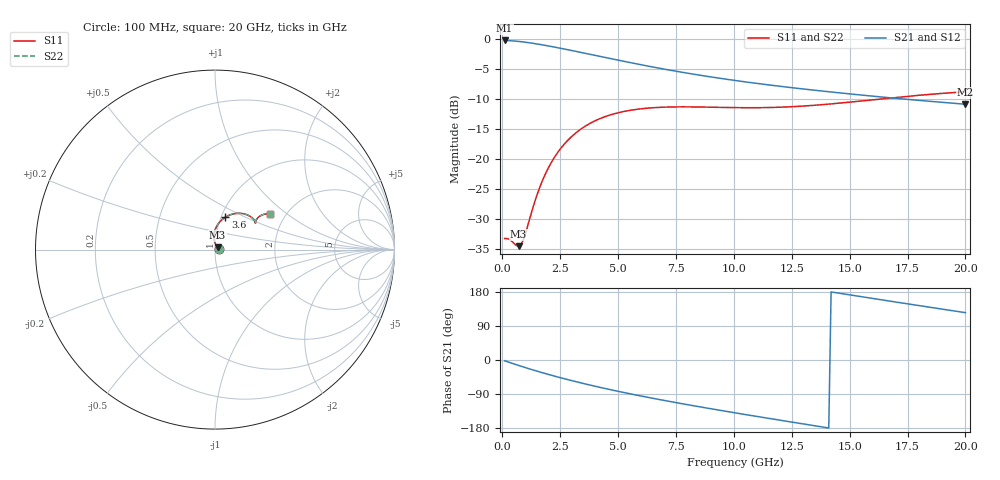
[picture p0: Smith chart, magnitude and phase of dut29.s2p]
! Touchstone file exported from HFSS 2023.1.0
!  File:  D:/Users/fzz/RDL_TSV/temp_RDL_TSV_29_1778744015.aedt
!  Generated:  3:42:30 %x4E0B%x5348  5%x6708 14, 2026
!  Design:  RDL_TSV
!  Project:  temp_RDL_TSV_29_1778744015
!  Setup:  Setup1
!  Solution:  Sweep
! Variables:
!  dtsv = 12.64um
!  hbump = 3um
!  htsv = 82.62um
!  ldown = 552.91um
!  lrdl = 376.52um
!  p = 40
!  p1 = 45.29um
!  rhole = 10um
!  subl = 3164.81um
!  t = 450um
!  tdown = 4.84um
!  trdl = 2.77um
!  viad = 10um
!  wdown = 14.4um
!  wrdl = 14.28um
!  xbump = 18um
# GHz S MA R 50.000000
! Terminal data exported
! Port[1] = TM1_1_T1
! Port[2] = TM1_4_T1
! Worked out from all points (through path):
!   200 points, 100 MHz to 20 GHz, reference 50 ohm
!   highest |S21| = -0.20 dB at 100 MHz (marker M1); lowest = -10.8 dB at 20 GHz (marker M2)
!   group delay of S21, straight-line fit = 30.7 ps
!   lowest |S11| = -34.5 dB at 700 MHz (marker M3), VSWR 1.04, Z = 51.4 + j1.3 ohm
!   |S11| at or under -10 dB: start of sweep to 16.22 GHz
!   |S22| runs from -34.5 to -8.8 dB; largest |S21 - S12| = 1.1e-14
!   S11 on the Smith chart (normalised r, x): 100 MHz: 1.04, +0.00; 3.6 GHz: 1.05, +0.39; 20 GHz: 1.67, +0.76
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0.1  0.02185 4.6  0.9776 -2.1  0.9776 -2.1  0.02185 4.6
! Gamma 0 0 0 0
! Port Impedance 50 0 50 0
0.3  0.02149 12.9  0.974 -6.2  0.974 -6.2  0.02149 12.9
0.7  0.01886 42.1  0.96 -14.3  0.96 -14.3  0.01886 42.2
0.8  0.01943 53.7  0.9554 -16.3  0.9554 -16.3  0.01943 53.7
0.9  0.02114 65.0  0.9505 -18.2  0.9505 -18.2  0.02114 65.0
1.4  0.04411 93.3  0.921 -27.6  0.921 -27.6  0.04414 93.4
1.6  0.05711 95.2  0.9076 -31.2  0.9076 -31.2  0.05715 95.3
1.8  0.07104 95.0  0.8937 -34.8  0.8937 -34.8  0.07109 95.0
2.1  0.09271 92.5  0.8721 -39.9  0.8721 -39.9  0.09277 92.6
2.7  0.1353 84.8  0.8279 -49.8  0.8279 -49.8  0.1354 84.8
3.5  0.1844 73.6  0.7698 -62.0  0.7698 -62.0  0.1845 73.6
3.6  0.1897 72.2  0.7627 -63.4  0.7627 -63.4  0.1898 72.2
4.3  0.2214 63.5  0.7147 -73.3  0.7147 -73.3  0.2216 63.5
5.2  0.249 54.0  0.658 -85.2  0.658 -85.2  0.2493 54.0
6.8  0.2708 42.1  0.5729 -104.6  0.5729 -104.6  0.2711 42.1
8.4  0.2729 35.4  0.5065 -122.2  0.5065 -122.2  0.2732 35.4
10.1  0.2693 33.0  0.4522 -139.9  0.4522 -139.9  0.2695 33.0
11.7  0.2703 33.7  0.4121 -156.0  0.4121 -156.0  0.2705 33.7
13.4  0.281 35.5  0.3776 -172.6  0.3776 -172.6  0.2811 35.4
16.7  0.3231 36.5  0.3259 155.7  0.3259 155.7  0.3231 36.4
18.3  0.3454 35.1  0.3059 140.7  0.3059 140.7  0.3453 35.1
20  0.3651 32.8  0.2875 125.0  0.2875 125.0  0.365 32.8
